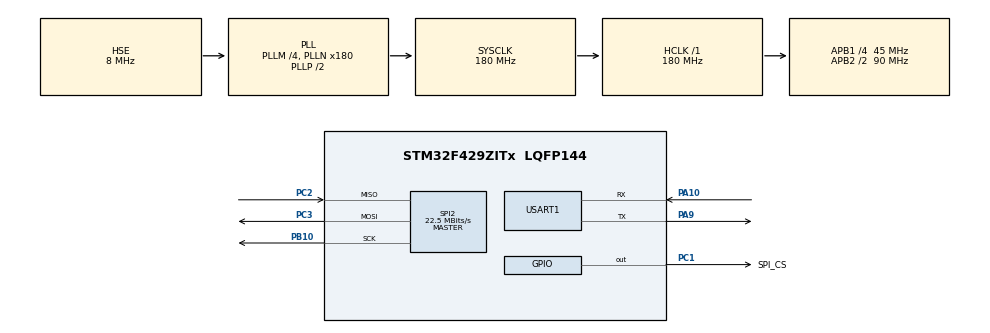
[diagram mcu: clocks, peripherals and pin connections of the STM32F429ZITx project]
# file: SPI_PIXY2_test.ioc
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Mcu.Family=STM32F4
Mcu.Name=STM32F429ZITx
Mcu.Package=LQFP144
NVIC.PriorityGroup=NVIC_PRIORITYGROUP_4
PA10.Mode=Asynchronous
PA10.Signal=USART1_RX
PA9.Mode=Asynchronous
PA9.Signal=USART1_TX
PB10.Mode=Full_Duplex_Master
PB10.Signal=SPI2_SCK
PC1.GPIO_Label=SPI_CS
PC1.GPIO_PuPd=GPIO_PULLUP
PC1.GPIO_Speed=GPIO_SPEED_FREQ_HIGH
PC1.PinState=GPIO_PIN_SET
PC1.Signal=GPIO_Output
PC2.Mode=Full_Duplex_Master
PC2.Signal=SPI2_MISO
PC3.Mode=Full_Duplex_Master
PC3.Signal=SPI2_MOSI
PH0/OSC_IN.Mode=HSE-External-Oscillator
PH0/OSC_IN.Signal=RCC_OSC_IN
PH1/OSC_OUT.Mode=HSE-External-Oscillator
PH1/OSC_OUT.Signal=RCC_OSC_OUT
ProjectManager.HeapSize=0x200
ProjectManager.StackSize=0x400
ProjectManager.TargetToolchain=STM32CubeIDE
RCC.48MHZClocksFreq_Value=90000000
RCC.AHBFreq_Value=180000000
RCC.APB1CLKDivider=RCC_HCLK_DIV4
RCC.APB1Freq_Value=45000000
RCC.APB1TimFreq_Value=90000000
RCC.APB2CLKDivider=RCC_HCLK_DIV2
RCC.APB2Freq_Value=90000000
RCC.APB2TimFreq_Value=180000000
RCC.CortexFreq_Value=180000000
RCC.HCLKFreq_Value=180000000
RCC.HSE_VALUE=8000000
RCC.HSI_VALUE=16000000
RCC.LSE_VALUE=32768
RCC.PLLM=4
RCC.PLLN=180
RCC.PLLSourceVirtual=RCC_PLLSOURCE_HSE
RCC.SYSCLKFreq_VALUE=180000000
RCC.SYSCLKSource=RCC_SYSCLKSOURCE_PLLCLK
RCC.VCOOutputFreq_Value=360000000
SPI2.BaudRatePrescaler=SPI_BAUDRATEPRESCALER_2
SPI2.CLKPhase=SPI_PHASE_2EDGE
SPI2.CalculateBaudRate=22.5 MBits/s
SPI2.Direction=SPI_DIRECTION_2LINES
SPI2.Mode=SPI_MODE_MASTER
SPI2.VirtualType=VM_MASTER
USART1.VirtualMode=VM_ASYNC
board=custom

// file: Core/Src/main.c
/* USER CODE BEGIN Header */
/**
 ******************************************************************************
 * @file           : main.c
 * @brief          : Main program body
 ******************************************************************************
 * @attention
 *
 * Copyright (c) 2023 STMicroelectronics.
 * All rights reserved.
 *
 * This software is licensed under terms that can be found in the LICENSE file
 * in the root directory of this software component.
 * If no LICENSE file comes with this software, it is provided AS-IS.
 *
 ******************************************************************************
 */
/* USER CODE END Header */
#include "main.h"

/* USER CODE BEGIN Includes */
#include "Pixy2.h"
/* USER CODE END Includes */

SPI_HandleTypeDef hspi2;

UART_HandleTypeDef huart1;

void SystemClock_Config(void);
static void MX_GPIO_Init(void);
static void MX_SPI2_Init(void);
static void MX_USART1_UART_Init(void);

/* USER CODE BEGIN 0 */

int __io_putchar(int ch) {
	(void) HAL_UART_Transmit(&huart1, (uint8_t*) &ch, 1, 100);
	return ch;
}

/* USER CODE END 0 */

int main(void) {

	/* MCU Configuration--------------------------------------------------------*/

	/* Reset of all peripherals, Initializes the Flash interface and the Systick. */
	HAL_Init();

	/* Configure the system clock */
	SystemClock_Config();

	/* Initialize all configured peripherals */
	MX_GPIO_Init();
	MX_SPI2_Init();
	MX_USART1_UART_Init();
	/* USER CODE BEGIN 2 */

	extern uint8_t numBlocks;
	extern uint8_t* m_buf;
	extern uint8_t* m_bufPayload;

	m_buf = (uint8_t*) malloc(PIXY_BUFFERSIZE);
	m_bufPayload = m_buf + PIXY_SEND_HEADER_SIZE;

	pixy2_init(&hspi2,SPI_CS_GPIO_Port,SPI_CS_Pin);

	pixy2_printVersion();

	/* USER CODE END 2 */

	/* Infinite loop */
	/* USER CODE BEGIN WHILE */
	while (1) {
		pixy2_getBlocks(true, CCC_SIG_ALL, 0xff);

		if (numBlocks) {
			for (int i = 0; i < numBlocks; i++) {
				pixy2_printBlock(i);
			}
			printf("\r\n");

		}

		/* USER CODE END WHILE */

	}
}

void SystemClock_Config(void) {
	RCC_OscInitTypeDef RCC_OscInitStruct = { 0 };
	RCC_ClkInitTypeDef RCC_ClkInitStruct = { 0 };

	/** Configure the main internal regulator output voltage
	 */
	__HAL_RCC_PWR_CLK_ENABLE();
	__HAL_PWR_VOLTAGESCALING_CONFIG(PWR_REGULATOR_VOLTAGE_SCALE1);

	/** Initializes the RCC Oscillators according to the specified parameters
	 * in the RCC_OscInitTypeDef structure.
	 */
	RCC_OscInitStruct.OscillatorType = RCC_OSCILLATORTYPE_HSE;
	RCC_OscInitStruct.HSEState = RCC_HSE_ON;
	RCC_OscInitStruct.PLL.PLLState = RCC_PLL_ON;
	RCC_OscInitStruct.PLL.PLLSource = RCC_PLLSOURCE_HSE;
	RCC_OscInitStruct.PLL.PLLM = 4;
	RCC_OscInitStruct.PLL.PLLN = 180;
	RCC_OscInitStruct.PLL.PLLP = RCC_PLLP_DIV2;
	RCC_OscInitStruct.PLL.PLLQ = 4;
	if (HAL_RCC_OscConfig(&RCC_OscInitStruct) != HAL_OK) {
		Error_Handler();
	}

	/** Activate the Over-Drive mode
	 */
	if (HAL_PWREx_EnableOverDrive() != HAL_OK) {
		Error_Handler();
	}

	/** Initializes the CPU, AHB and APB buses clocks
	 */
	RCC_ClkInitStruct.ClockType = RCC_CLOCKTYPE_HCLK | RCC_CLOCKTYPE_SYSCLK
			| RCC_CLOCKTYPE_PCLK1 | RCC_CLOCKTYPE_PCLK2;
	RCC_ClkInitStruct.SYSCLKSource = RCC_SYSCLKSOURCE_PLLCLK;
	RCC_ClkInitStruct.AHBCLKDivider = RCC_SYSCLK_DIV1;
	RCC_ClkInitStruct.APB1CLKDivider = RCC_HCLK_DIV4;
	RCC_ClkInitStruct.APB2CLKDivider = RCC_HCLK_DIV2;

	if (HAL_RCC_ClockConfig(&RCC_ClkInitStruct, FLASH_LATENCY_5) != HAL_OK) {
		Error_Handler();
	}
}

static void MX_SPI2_Init(void) {

	/* SPI2 parameter configuration*/
	hspi2.Instance = SPI2;
	hspi2.Init.Mode = SPI_MODE_MASTER;
	hspi2.Init.Direction = SPI_DIRECTION_2LINES;
	hspi2.Init.DataSize = SPI_DATASIZE_8BIT;
	hspi2.Init.CLKPolarity = SPI_POLARITY_LOW;
	hspi2.Init.CLKPhase = SPI_PHASE_2EDGE;
	hspi2.Init.NSS = SPI_NSS_SOFT;
	hspi2.Init.BaudRatePrescaler = SPI_BAUDRATEPRESCALER_2;
	hspi2.Init.FirstBit = SPI_FIRSTBIT_MSB;
	hspi2.Init.TIMode = SPI_TIMODE_DISABLE;
	hspi2.Init.CRCCalculation = SPI_CRCCALCULATION_DISABLE;
	hspi2.Init.CRCPolynomial = 10;
	if (HAL_SPI_Init(&hspi2) != HAL_OK) {
		Error_Handler();
	}

}

static void MX_USART1_UART_Init(void) {

	huart1.Instance = USART1;
	huart1.Init.BaudRate = 115200;
	huart1.Init.WordLength = UART_WORDLENGTH_8B;
	huart1.Init.StopBits = UART_STOPBITS_1;
	huart1.Init.Parity = UART_PARITY_NONE;
	huart1.Init.Mode = UART_MODE_TX_RX;
	huart1.Init.HwFlowCtl = UART_HWCONTROL_NONE;
	huart1.Init.OverSampling = UART_OVERSAMPLING_16;
	if (HAL_UART_Init(&huart1) != HAL_OK) {
		Error_Handler();
	}

}

static void MX_GPIO_Init(void) {
	GPIO_InitTypeDef GPIO_InitStruct = { 0 };

	/* GPIO Ports Clock Enable */
	__HAL_RCC_GPIOH_CLK_ENABLE();
	__HAL_RCC_GPIOC_CLK_ENABLE();
	__HAL_RCC_GPIOB_CLK_ENABLE();
	__HAL_RCC_GPIOA_CLK_ENABLE();

	/*Configure GPIO pin Output Level */
	HAL_GPIO_WritePin(SPI_CS_GPIO_Port, SPI_CS_Pin, GPIO_PIN_SET);

	/*Configure GPIO pin : SPI_CS_Pin */
	GPIO_InitStruct.Pin = SPI_CS_Pin;
	GPIO_InitStruct.Mode = GPIO_MODE_OUTPUT_PP;
	GPIO_InitStruct.Pull = GPIO_PULLUP;
	GPIO_InitStruct.Speed = GPIO_SPEED_FREQ_HIGH;
	HAL_GPIO_Init(SPI_CS_GPIO_Port, &GPIO_InitStruct);

}

/* USER CODE BEGIN 4 */

void HAL_SYSTICK_Callback(void) {

}

/* USER CODE END 4 */

void Error_Handler(void) {
	__disable_irq();
	while (1) {
	}
}
